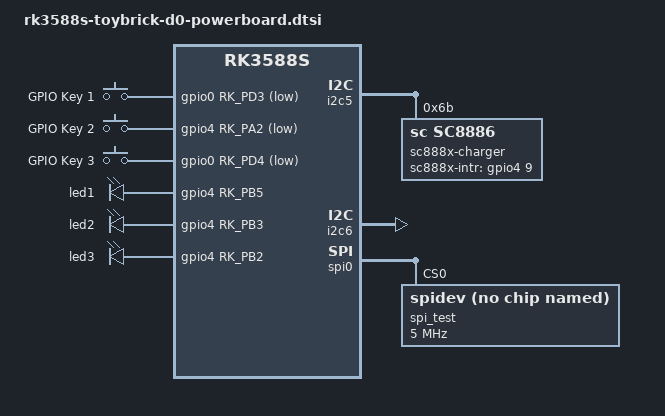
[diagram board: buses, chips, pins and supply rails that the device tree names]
// SPDX-License-Identifier: (GPL-2.0+ OR MIT)
/*
 * Copyright (c) 2021 Rockchip Electronics Co., Ltd.
 *
 */

/ {
	gpio-keys {
		compatible = "gpio-keys";
		autorepeat;
		pinctrl-names = "default";
		pinctrl-0 = <&gpio_key_sets>;

		key1 {
			debounce-interval = <100>;
			gpios = <&gpio0 RK_PD3 GPIO_ACTIVE_LOW>;
			label = "GPIO Key 1";
			linux,code = <KEY_1>;
		};
		key2 {
			debounce-interval = <100>;
			gpios = <&gpio4 RK_PA2 GPIO_ACTIVE_LOW>;
			label = "GPIO Key 2";
			linux,code = <KEY_2>;
		};
		key3 {
			debounce-interval = <100>;
			gpios = <&gpio0 RK_PD4 GPIO_ACTIVE_LOW>;
			label = "GPIO Key 3";
			linux,code = <KEY_3>;
		};
	};

	leds: leds {
        compatible = "gpio-leds";
        led1: led1 {
            gpios = <&gpio4 RK_PB5 GPIO_ACTIVE_HIGH>;
        };

		led2: led2 {
            gpios = <&gpio4 RK_PB3 GPIO_ACTIVE_HIGH>;
        };
		led3: led3 {
            gpios = <&gpio4 RK_PB2 GPIO_ACTIVE_HIGH>;
        };
    };
};

&i2c5 {
	status = "okay";
	pinctrl-names = "default";
	pinctrl-0 = <&i2c5m2_xfer>;

	sc888x-charger@6b {
		compatible = "sc,sc8886";
		reg = <0x6b>;
		sc,sc888x-intr-gpio = <&gpio4 9 0>;
		sc,charge-current = <1000000>;
		sc,max-input-voltage = <20000000>;
		sc,min-input-voltage = <4200000>;/* VINDPM*/
		sc,max-input-current = <6000000>;
		sc,max-charge-voltage = <8400000>;
		sc,input-current = <500000>;
		sc,input-current-sdp = <500000>;
		sc,input-current-dcp = <2000000>;
		sc,input-current-cdp = <2000000>;
		sc,minimum-sys-voltage = <7400000>;
		sc,otg-voltage = <5000000>;
		sc,otg-current = <500000>;
	};
};

&i2c6 {
	status = "okay";
	pinctrl-names = "default";
	pinctrl-0 = <&i2c6m3_xfer>;
};

&pinctrl {
	buttons {
		gpio_key_sets: gpio-key-sets {
			rockchip,pins =
				<0 RK_PD3 RK_FUNC_GPIO &pcfg_pull_up>,
				<4 RK_PA2 RK_FUNC_GPIO &pcfg_pull_up>,
				<0 RK_PD4 RK_FUNC_GPIO &pcfg_pull_up>;
		};
	};
	sc8886_int_pin {
		sc8886_int_default: sc8886-int-default {
			rockchip,pins =
				<4 RK_PB1 RK_FUNC_GPIO &pcfg_pull_up_drv_level_1>;
		};
	};
};

&spi0 {
	status = "okay";
	pinctrl-names = "default";
	pinctrl-0 = <&spi0m2_cs0 &spi0m2_pins>;
	max-freq = <50000000>;
	spi_test@0 {
		compatible = "rockchip,spidev";
		reg = <0>;
		spi-max-frequency = <5000000>;
	};
};
